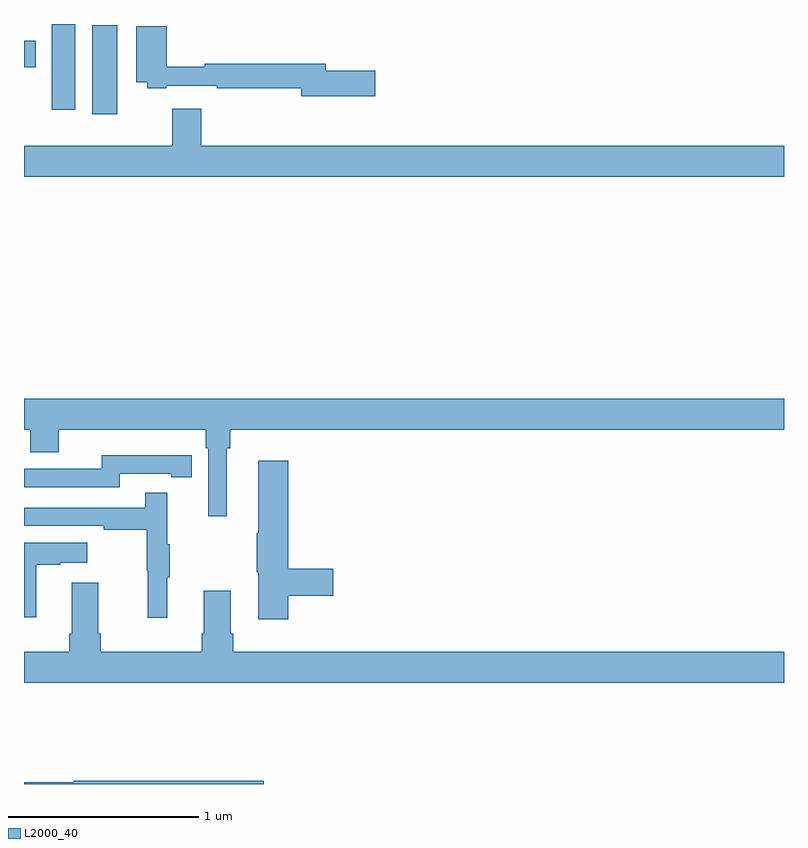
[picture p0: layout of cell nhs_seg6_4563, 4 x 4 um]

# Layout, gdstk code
import gdstk
lib = gdstk.Library(unit=1e-6, precision=1e-09)
def R(c, l, rs):  # rectangles x0, y0, x1, y1
    for r in rs: c.add(gdstk.rectangle(r[:2], r[2:], *l))
def P(c, l, *ps):  # polygons
    for p in ps: c.add(gdstk.Polygon(p, *l))
L2000_40 = (2000, 40)

nhs_seg6_4563 = lib.new_cell('nhs_seg6_4563')
R(nhs_seg6_4563, L2000_40, [(381.359,921.024,381.49,921.493), (381.146,921.048,381.271,921.5), (381,921.272,381.061,921.412)])
P(nhs_seg6_4563, L2000_40, [(382.849,921.254),(382.588,921.254),(382.588,921.29),(381.95,921.29),(381.95,921.275),(381.752,921.275),(381.752,921.487),(381.59,921.487),(381.59,921.194),(381.648,921.194),(381.648,921.162),(381.748,921.162),(381.748,921.174),(382.015,921.174),(382.015,921.162),(382.46,921.162),(382.46,921.119),(382.849,921.119)],
  [(385,920.86),(381.932,920.86),(381.932,921.055),(381.779,921.055),(381.779,920.86),(381,920.86),(381,920.696),(385,920.696)],
  [(382.066,919.268),(382.085,919.268),(382.085,919.364),(385,919.364),(385,919.528),(381,919.528),(381,919.364),(381.032,919.364),(381.032,919.247),(381.184,919.247),(381.184,919.364),(381.956,919.364),(381.956,919.268),(381.969,919.268),(381.969,918.909),(382.066,918.909)],
  [(381.504,919.134),(381.776,919.134),(381.776,919.114),(381.884,919.114),(381.884,919.23),(381.776,919.23),(381.776,919.231),(381.408,919.231),(381.408,919.158),(381,919.158),(381,919.062),(381.504,919.062)],
  [(382.391,918.49),(382.627,918.49),(382.627,918.632),(382.391,918.632),(382.391,919.201),(382.232,919.201),(382.232,918.821),(382.225,918.821),(382.225,918.615),(382.232,918.615),(382.232,918.366),(382.391,918.366)],
  [(381.755,918.587),(381.766,918.587),(381.766,918.761),(381.755,918.761),(381.755,919.033),(381.637,919.033),(381.637,918.954),(381,918.954),(381,918.858),(381.421,918.858),(381.421,918.838),(381.645,918.838),(381.645,918.624),(381.652,918.624),(381.652,918.375),(381.755,918.375)],
  [(381.064,918.655),(381.191,918.655),(381.191,918.665),(381.334,918.665),(381.334,918.769),(381,918.769),(381,918.378),(381.064,918.378)],
  [(385,918.196),(382.1,918.196),(382.1,918.292),(382.087,918.292),(382.087,918.517),(381.947,918.517),(381.947,918.292),(381.935,918.292),(381.935,918.196),(381.404,918.196),(381.404,918.292),(381.391,918.292),(381.391,918.559),(381.251,918.559),(381.251,918.292),(381.239,918.292),(381.239,918.196),(381,918.196),(381,918.032),(385,918.032)],
  [(382.262,917.516),(381.262,917.516),(381.262,917.509),(381,917.509),(381,917.5),(382.262,917.5)])

lib.write_gds('nhs_seg6_4563.gds')
